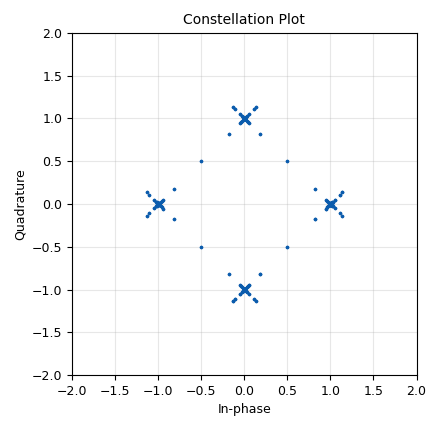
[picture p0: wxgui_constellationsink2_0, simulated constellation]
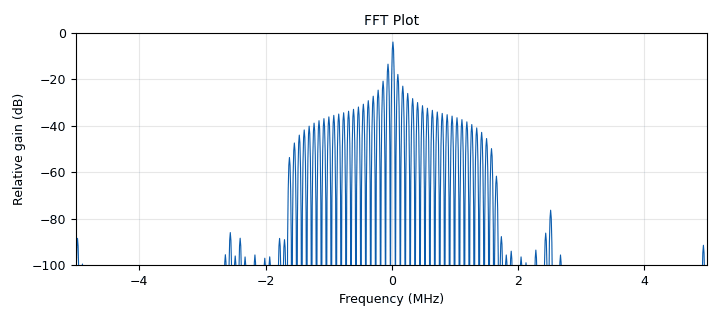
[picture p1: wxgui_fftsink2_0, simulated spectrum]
<?xml version='1.0' encoding='utf-8'?>
<?grc format='1' created='3.7.10'?>
<flow_graph>
<block>
<key>options</key>
<param><key>id</key><value>top_block</value></param>
<param><key>generate_options</key><value>wx_gui</value></param>
</block>
<block>
<key>variable</key>
<param><key>id</key><value>samp_rate</value></param>
<param><key>value</key><value>10000000</value></param>
</block>
<block>
<key>analog_sig_source_x</key>
<param><key>id</key><value>analog_sig_source_x_0</value></param>
<param><key>amp</key><value>1</value></param>
<param><key>freq</key><value>100000</value></param>
<param><key>offset</key><value>0</value></param>
<param><key>type</key><value>complex</value></param>
<param><key>samp_rate</key><value>samp_rate</value></param>
<param><key>waveform</key><value>analog.GR_SQR_WAVE</value></param>
</block>
<block>
<key>blocks_complex_to_interleaved_char</key>
<param><key>id</key><value>blocks_complex_to_interleaved_char_0</value></param>
<param><key>vector_output</key><value>False</value></param>
</block>
<block>
<key>blocks_interleave</key>
<param><key>id</key><value>blocks_interleave_0</value></param>
<param><key>type</key><value>byte</value></param>
<param><key>num_streams</key><value>1</value></param>
</block>
<block>
<key>blocks_packed_to_unpacked_xx</key>
<param><key>id</key><value>blocks_packed_to_unpacked_xx_0</value></param>
<param><key>bits_per_chunk</key><value>1</value></param>
<param><key>endianness</key><value>gr.GR_LSB_FIRST</value></param>
<param><key>type</key><value>byte</value></param>
</block>
<block>
<key>blocks_throttle</key>
<param><key>id</key><value>blocks_throttle_0</value></param>
<param><key>samples_per_second</key><value>samp_rate</value></param>
<param><key>type</key><value>complex</value></param>
</block>
<block>
<key>blocks_vector_source_x</key>
<param><key>id</key><value>blocks_vector_source_x_0</value></param>
<param><key>_enabled</key><value>0</value></param>
<param><key>type</key><value>byte</value></param>
<param><key>repeat</key><value>True</value></param>
<param><key>vector</key><value>(1, 0 )</value></param>
</block>
<block>
<key>digital_dxpsk_mod</key>
<param><key>id</key><value>digital_dxpsk_mod_0</value></param>
<param><key>excess_bw</key><value>0.35</value></param>
<param><key>mod_code</key><value>"gray"</value></param>
<param><key>log</key><value>False</value></param>
<param><key>samples_per_symbol</key><value>4</value></param>
<param><key>type</key><value>dqpsk</value></param>
<param><key>verbose</key><value>False</value></param>
</block>
<block>
<key>wxgui_constellationsink2</key>
<param><key>id</key><value>wxgui_constellationsink2_0</value></param>
<param><key>const_size</key><value>2048</value></param>
<param><key>frame_rate</key><value>5</value></param>
<param><key>gain_mu</key><value>0.005</value></param>
<param><key>loop_bw</key><value>6.28/100.0</value></param>
<param><key>M</key><value>4</value></param>
<param><key>fmax</key><value>0.06</value></param>
<param><key>mu</key><value>0.5</value></param>
<param><key>omega_limit</key><value>0.005</value></param>
<param><key>samp_rate</key><value>samp_rate</value></param>
<param><key>symbol_rate</key><value>samp_rate/4.</value></param>
<param><key>theta</key><value>0</value></param>
<param><key>title</key><value>Constellation Plot</value></param>
</block>
<block>
<key>wxgui_fftsink2</key>
<param><key>id</key><value>wxgui_fftsink2_0</value></param>
<param><key>avg_alpha</key><value>0</value></param>
<param><key>average</key><value>False</value></param>
<param><key>baseband_freq</key><value>0</value></param>
<param><key>fft_size</key><value>1024</value></param>
<param><key>freqvar</key><value>None</value></param>
<param><key>peak_hold</key><value>False</value></param>
<param><key>ref_level</key><value>0</value></param>
<param><key>ref_scale</key><value>2.0</value></param>
<param><key>fft_rate</key><value>15</value></param>
<param><key>samp_rate</key><value>samp_rate</value></param>
<param><key>title</key><value>FFT Plot</value></param>
<param><key>type</key><value>complex</value></param>
<param><key>win</key><value>None</value></param>
<param><key>y_divs</key><value>10</value></param>
<param><key>y_per_div</key><value>10</value></param>
</block>
<block>
<key>wxgui_scopesink2</key>
<param><key>id</key><value>wxgui_scopesink2_0</value></param>
<param><key>ac_couple</key><value>False</value></param>
<param><key>_enabled</key><value>0</value></param>
<param><key>num_inputs</key><value>1</value></param>
<param><key>samp_rate</key><value>samp_rate</value></param>
<param><key>t_scale</key><value>0</value></param>
<param><key>title</key><value>Scope Plot</value></param>
<param><key>trig_mode</key><value>wxgui.TRIG_MODE_AUTO</value></param>
<param><key>type</key><value>complex</value></param>
<param><key>v_offset</key><value>0</value></param>
<param><key>v_scale</key><value>0</value></param>
<param><key>xy_mode</key><value>False</value></param>
<param><key>y_axis_label</key><value>Counts</value></param>
</block>
<connection><source_block_id>analog_sig_source_x_0</source_block_id><sink_block_id>blocks_complex_to_interleaved_char_0</sink_block_id><source_key>0</source_key><sink_key>0</sink_key></connection>
<connection><source_block_id>blocks_complex_to_interleaved_char_0</source_block_id><sink_block_id>blocks_packed_to_unpacked_xx_0</sink_block_id><source_key>0</source_key><sink_key>0</sink_key></connection>
<connection><source_block_id>blocks_interleave_0</source_block_id><sink_block_id>digital_dxpsk_mod_0</sink_block_id><source_key>0</source_key><sink_key>0</sink_key></connection>
<connection><source_block_id>blocks_packed_to_unpacked_xx_0</source_block_id><sink_block_id>blocks_interleave_0</sink_block_id><source_key>0</source_key><sink_key>0</sink_key></connection>
<connection><source_block_id>blocks_throttle_0</source_block_id><sink_block_id>wxgui_constellationsink2_0</sink_block_id><source_key>0</source_key><sink_key>0</sink_key></connection>
<connection><source_block_id>blocks_throttle_0</source_block_id><sink_block_id>wxgui_fftsink2_0</sink_block_id><source_key>0</source_key><sink_key>0</sink_key></connection>
<connection><source_block_id>blocks_throttle_0</source_block_id><sink_block_id>wxgui_scopesink2_0</sink_block_id><source_key>0</source_key><sink_key>0</sink_key></connection>
<connection><source_block_id>blocks_vector_source_x_0</source_block_id><sink_block_id>blocks_packed_to_unpacked_xx_0</sink_block_id><source_key>0</source_key><sink_key>0</sink_key></connection>
<connection><source_block_id>digital_dxpsk_mod_0</source_block_id><sink_block_id>blocks_throttle_0</sink_block_id><source_key>0</source_key><sink_key>0</sink_key></connection>
</flow_graph>
